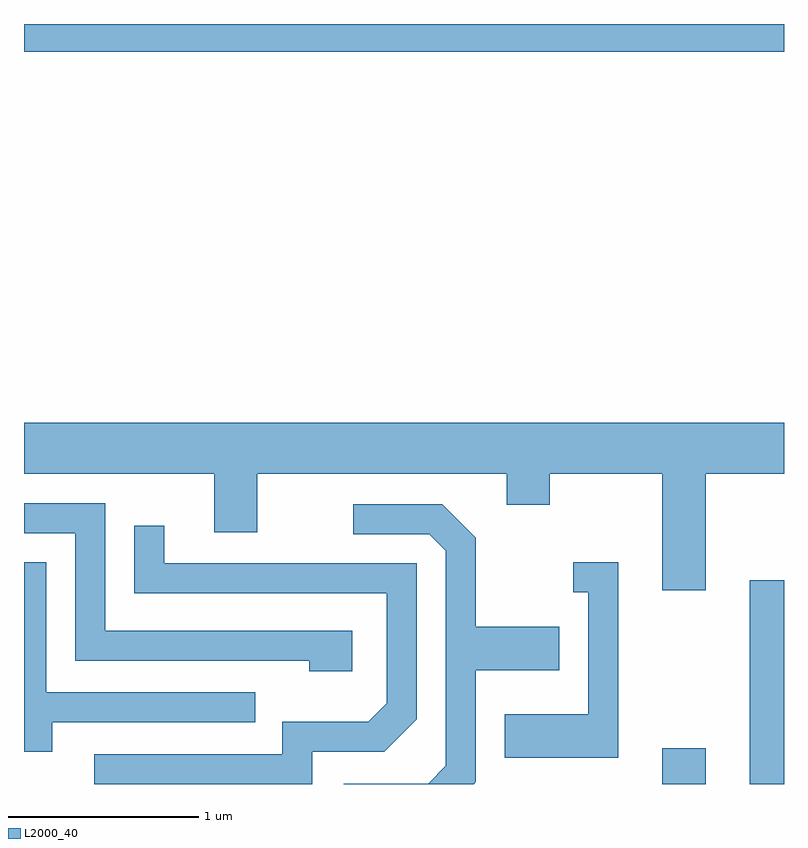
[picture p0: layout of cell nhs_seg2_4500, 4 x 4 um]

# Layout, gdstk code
import gdstk
lib = gdstk.Library(unit=1e-6, precision=1e-09)
def R(c, l, rs):  # rectangles x0, y0, x1, y1
    for r in rs: c.add(gdstk.rectangle(r[:2], r[2:], *l))
def P(c, l, *ps):  # polygons
    for p in ps: c.add(gdstk.Polygon(p, *l))
L2000_40 = (2000, 40)

nhs_seg2_4500 = lib.new_cell('nhs_seg2_4500')
R(nhs_seg2_4500, L2000_40, [(320.971,1037.802,321.199,1037.989), (321.431,1037.802,321.611,1038.874), (317.611,1041.656,321.611,1041.802)])
P(nhs_seg2_4500, L2000_40, [(321.199,1039.436),(321.611,1039.436),(321.611,1039.704),(317.611,1039.704),(317.611,1039.436),(318.611,1039.436),(318.611,1039.126),(318.839,1039.126),(318.839,1039.436),(320.151,1039.436),(320.151,1039.271),(320.379,1039.271),(320.379,1039.436),(320.971,1039.436),(320.971,1038.821),(321.199,1038.821)],
  [(319.339,1038.609),(318.039,1038.609),(318.039,1039.279),(317.611,1039.279),(317.611,1039.121),(317.881,1039.121),(317.881,1038.451),(319.111,1038.451),(319.111,1038.396),(319.339,1038.396)],
  [(319.989,1037.814),(319.989,1038.401),(320.429,1038.401),(320.429,1038.629),(319.989,1038.629),(319.989,1039.097),(319.812,1039.274),(319.343,1039.274),(319.343,1039.116),(319.744,1039.116),(319.831,1039.029),(319.831,1037.897),(319.739,1037.804),(319.293,1037.804),(319.293,1037.802),(319.977,1037.802)],
  [(319.129,1037.971),(319.507,1037.971),(319.679,1038.144),(319.679,1038.964),(318.349,1038.964),(318.349,1039.162),(318.191,1039.162),(318.191,1038.806),(319.521,1038.806),(319.521,1038.227),(319.424,1038.129),(318.971,1038.129),(318.971,1037.959),(317.981,1037.959),(317.981,1037.802),(319.129,1037.802)],
  [(317.759,1038.126),(318.828,1038.126),(318.828,1038.284),(317.729,1038.284),(317.729,1038.969),(317.611,1038.969),(317.611,1037.971),(317.759,1037.971)],
  [(320.739,1038.969),(320.503,1038.969),(320.503,1038.811),(320.581,1038.811),(320.581,1038.169),(320.141,1038.169),(320.141,1037.941),(320.739,1037.941)])

lib.write_gds('nhs_seg2_4500.gds')
